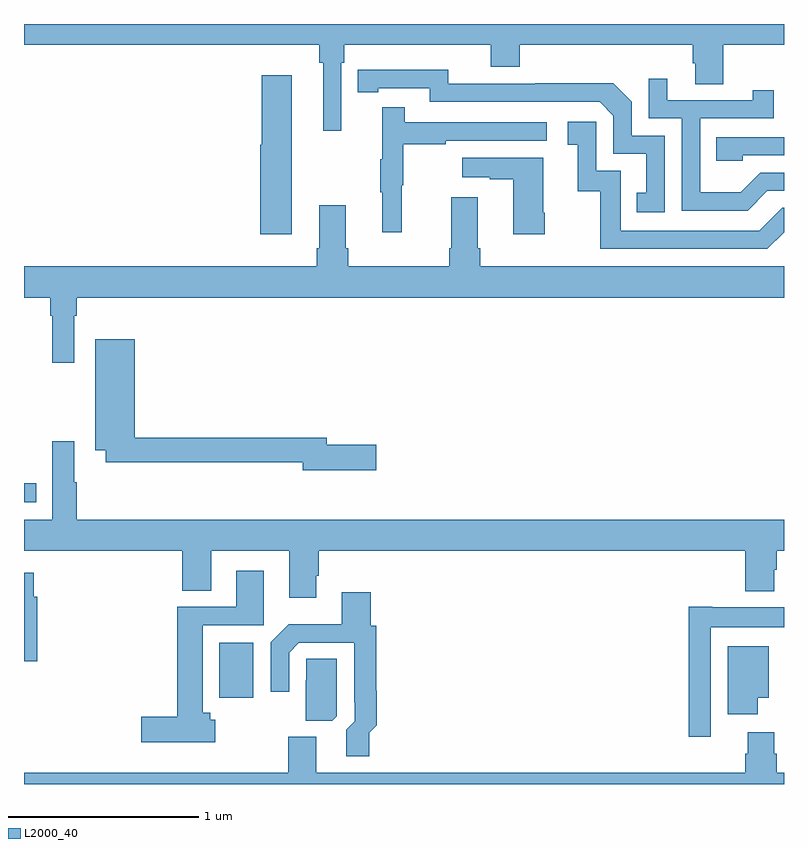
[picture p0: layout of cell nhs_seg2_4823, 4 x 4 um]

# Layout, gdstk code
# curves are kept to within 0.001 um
import gdstk
lib = gdstk.Library(unit=1e-6, precision=1e-09)
def R(c, l, rs):  # rectangles x0, y0, x1, y1
    for r in rs: c.add(gdstk.rectangle(r[:2], r[2:], *l))
def P(c, l, *ps):  # polygons
    for p in ps: c.add(gdstk.Polygon(p, *l))
L2000_40 = (2000, 40)

nhs_seg2_4823 = lib.new_cell('nhs_seg2_4823')
R(nhs_seg2_4823, L2000_40, [(376.028,588.254,376.207,588.544), (375,589.283,375.064,589.384)])
P(nhs_seg2_4823, L2000_40, [(376.671,591.596),(376.685,591.596),(376.685,591.692),(377.456,591.692),(377.456,591.575),(377.609,591.575),(377.609,591.692),(378.521,591.692),(378.521,591.594),(378.533,591.594),(378.533,591.484),(378.681,591.484),(378.681,591.692),(379,591.692),(379,591.8),(375,591.8),(375,591.692),(376.555,591.692),(376.555,591.596),(376.574,591.596),(376.574,591.237),(376.671,591.237)],
  [(378.372,591.213),(378.198,591.213),(378.198,591.39),(378.1,591.488),(377.692,591.488),(377.692,591.486),(377.232,591.486),(377.232,591.559),(376.756,591.558),(376.756,591.442),(376.864,591.442),(376.864,591.462),(377.136,591.462),(377.136,591.39),(378.03,591.39),(378.102,591.318),(378.102,591.117),(378.275,591.117),(378.275,590.913),(378.226,590.913),(378.226,590.808),(378.372,590.808)],
  [(376.408,591.529),(376.25,591.529),(376.25,591.165),(376.244,591.165),(376.244,590.694),(376.408,590.694)],
  [(378.913,590.922),(379,590.922),(379,591.018),(378.876,591.018),(378.772,590.914),(378.558,590.914),(378.558,591.303),(378.947,591.303),(378.947,591.451),(378.836,591.451),(378.836,591.399),(378.385,591.399),(378.385,591.511),(378.288,591.511),(378.288,591.303),(378.462,591.303),(378.462,590.817),(378.808,590.817)],
  [(376.988,590.952),(376.996,590.952),(376.996,591.166),(377.219,591.166),(377.219,591.186),(377.752,591.186),(377.752,591.282),(377.003,591.282),(377.003,591.361),(376.886,591.361),(376.886,591.089),(376.875,591.089),(376.875,590.915),(376.886,590.915),(376.886,590.703),(376.988,590.703)],
  [(379,590.704),(379,590.832),(378.99,590.832),(378.87,590.712),(378.141,590.712),(378.141,591.027),(378.012,591.027),(378.012,591.286),(377.862,591.286),(377.862,591.165),(377.915,591.165),(377.915,590.919),(378.033,590.919),(378.033,590.616),(378.912,590.616)],
  [(378.783,591.108),(379,591.108),(379,591.204),(378.643,591.204),(378.643,591.081),(378.783,591.081)],
  [(377.742,590.806),(377.734,590.806),(377.734,591.097),(377.307,591.097),(377.307,590.993),(377.45,590.993),(377.45,590.983),(377.576,590.983),(377.576,590.694),(377.742,590.694)],
  [(375.265,590.264),(375.278,590.264),(375.278,590.36),(379,590.36),(379,590.524),(377.402,590.524),(377.402,590.62),(377.389,590.62),(377.389,590.887),(377.249,590.887),(377.249,590.62),(377.237,590.62),(377.237,590.524),(376.706,590.524),(376.706,590.62),(376.693,590.62),(376.693,590.845),(376.553,590.845),(376.553,590.62),(376.541,590.62),(376.541,590.524),(375,590.524),(375,590.36),(375.137,590.36),(375.137,590.264),(375.149,590.264),(375.149,590.016),(375.265,590.016)],
  [(376.855,589.586),(376.594,589.586),(376.594,589.622),(375.583,589.622),(375.583,590.14),(375.374,590.14),(375.374,589.556),(375.431,589.556),(375.431,589.494),(376.466,589.494),(376.466,589.451),(376.855,589.451)],
  [(376.537,588.895),(376.55,588.895),(376.55,589.028),(378.797,589.028),(378.797,588.815),(378.949,588.815),(378.949,588.927),(378.962,588.927),(378.962,589.028),(379,589.028),(379,589.192),(375.278,589.192),(375.278,589.389),(375.265,589.389),(375.265,589.603),(375.149,589.603),(375.149,589.192),(375,589.192),(375,589.028),(375.833,589.028),(375.833,588.817),(375.985,588.817),(375.985,589.028),(376.397,589.028),(376.397,588.78),(376.537,588.78)],
  [(376.006,588.138),(375.981,588.138),(375.981,588.174),(375.94,588.174),(375.94,588.636),(376.261,588.636),(376.261,588.922),(376.118,588.922),(376.118,588.732),(375.806,588.732),(375.806,588.155),(375.618,588.155),(375.618,588.02),(376.006,588.02)],
  [(375.07,588.786),(375.052,588.786),(375.052,588.913),(375,588.913),(375,588.446),(375.07,588.446)],
  [(376.817,588.069),(376.856,588.108),(376.856,588.29),(376.853,588.29),(376.853,588.633),(376.826,588.633),(376.826,588.808),(376.673,588.808),(376.673,588.64),(376.393,588.64),(376.299,588.546),(376.299,588.285),(376.395,588.285),(376.395,588.492),(376.446,588.543),(376.737,588.543),(376.737,588.229),(376.74,588.229),(376.74,588.129),(376.697,588.086),(376.697,587.946),(376.817,587.946)],
  [(378.615,588.626),(379,588.626),(379,588.73),(378.622,588.73),(378.622,588.733),(378.499,588.733),(378.499,588.048),(378.615,588.048)],
  [(378.862,588.254),(378.919,588.254),(378.919,588.526),(378.704,588.526),(378.704,588.168),(378.862,588.168)],
  [(376.647,588.156),(376.647,588.458),(376.485,588.458),(376.485,588.347),(376.484,588.347),(376.484,588.133),(376.623,588.133)],
  [(379,587.86),(378.962,587.86),(378.962,587.958),(378.949,587.958),(378.949,588.073),(378.809,588.073),(378.809,587.958),(378.797,587.958),(378.797,587.86),(376.537,587.86),(376.537,588.048),(376.39,588.048),(376.39,587.86),(375,587.86),(375,587.8),(379,587.8)])

lib.write_gds('nhs_seg2_4823.gds')
